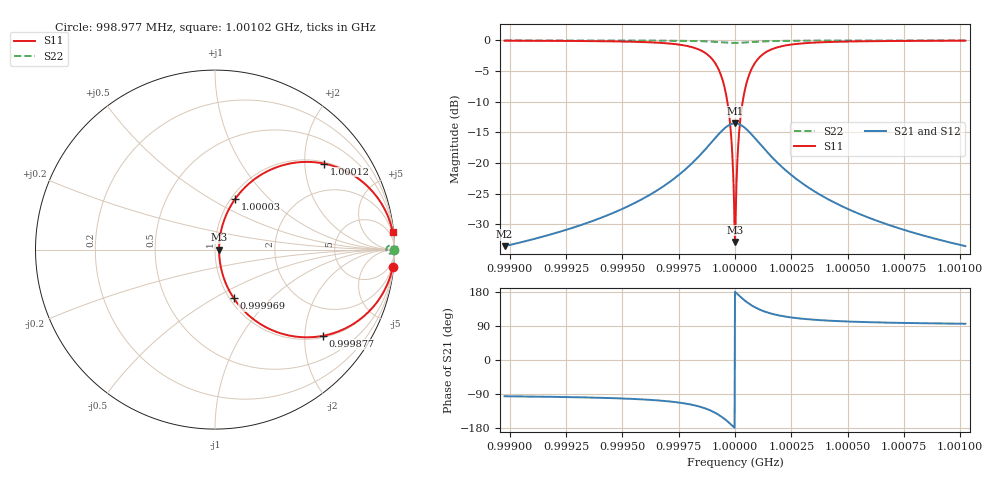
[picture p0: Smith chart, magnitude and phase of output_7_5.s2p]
! File generated for n1 = 7, n2 = 5
! b1 = 1.000000
! b2 = 0.046416
! Q0 = 10000.000000
! f0 = 1000000000.000000
! n = 1001
! rel_span = 10.000000
# Hz S RI R 50
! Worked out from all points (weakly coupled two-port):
!   1001 points, 998.977 MHz to 1.00102 GHz, reference 50 ohm
!   highest |S21| = -13.53 dB at 1 GHz (marker M1); lowest = -33.6 dB at 998.977 MHz (marker M2)
!   lowest |S11| = -32.9 dB at 1 GHz (marker M3), VSWR 1.05, Z = 52.3 + j0 ohm
!   |S11| at or under -10 dB: 999.966 MHz to 1.000034 GHz (68.07 kHz wide, 0.00681 % of centre)
!   |S22| runs from -0.4 to 0.0 dB; largest |S21 - S12| = 0
!   S11 on the Smith chart (normalised r, x): 998.977 MHz: 1, -20; 999.877 MHz: 1.05, -2.46; 999.969 MHz: 1.05, -0.61; 1.00003 GHz: 1.05, +0.65; 1.00012 GHz: 1.05, +2.50; 1.00102 GHz: 1, +20
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9.989768e8  0.9903 -0.0967  -0.00208 -0.0208  -0.00208 -0.0208  0.9996 -0.00449
9.993185e8  0.9785 -0.1435  -0.00464 -0.0309  -0.00464 -0.0309  0.999 -0.00666
9.996603e8  0.9187 -0.2698  -0.0175 -0.0581  -0.0175 -0.0581  0.9962 -0.0125
9.997913e8  0.8107 -0.3862  -0.0408 -0.0832  -0.0408 -0.0832  0.9912 -0.0179
9.998383e8  0.7205 -0.4416  -0.0602 -0.0951  -0.0602 -0.0951  0.987 -0.0205
9.998772e8  0.5995 -0.4806  -0.0863 -0.1036  -0.0863 -0.1036  0.9814 -0.0223
9.999345e8  0.3067 -0.4437  -0.1494 -0.0956  -0.1494 -0.0956  0.9678 -0.0206
9.99955e8  0.1812 -0.3603  -0.1764 -0.0776  -0.1764 -0.0776  0.962 -0.0167
9.999693e8  0.1034 -0.269  -0.1932 -0.058  -0.1932 -0.058  0.9584 -0.0125
9.999816e8  0.0534 -0.1704  -0.2039 -0.0367  -0.2039 -0.0367  0.9561 -0.00791
9.999939e8  0.0262 -0.0584  -0.2098 -0.0126  -0.2098 -0.0126  0.9548 -0.00271
1e9  0.0227 0  -0.2106 0  -0.2106 0  0.9546 0
1.000006e9  0.0262 0.0584  -0.2098 0.0126  -0.2098 0.0126  0.9548 0.00271
1.000018e9  0.0534 0.1704  -0.2039 0.0367  -0.2039 0.0367  0.9561 0.00791
1.000033e9  0.1135 0.2837  -0.191 0.0611  -0.191 0.0611  0.9589 0.0132
1.000047e9  0.1934 0.371  -0.1738 0.0799  -0.1738 0.0799  0.9626 0.0172
1.000068e9  0.3192 0.4493  -0.1467 0.0968  -0.1467 0.0968  0.9684 0.0209
1.000125e9  0.6072 0.4792  -0.0846 0.1032  -0.0846 0.1032  0.9818 0.0222
1.000211e9  0.8136 0.384  -0.0402 0.0827  -0.0402 0.0827  0.9913 0.0178
1.000342e9  0.9196 0.2686  -0.0173 0.0579  -0.0173 0.0579  0.9963 0.0125
1.000684e9  0.9786 0.1431  -0.00462 0.0308  -0.00462 0.0308  0.999 0.00664
1.001023e9  0.9903 0.0968  -0.00209 0.0209  -0.00209 0.0209  0.9996 0.00449
